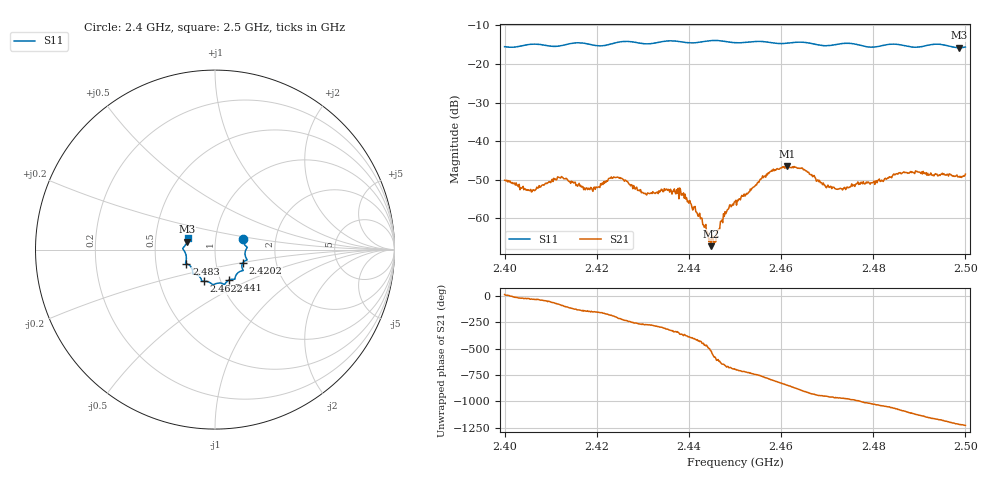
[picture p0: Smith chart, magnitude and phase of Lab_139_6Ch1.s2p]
# Hz S RI R 50
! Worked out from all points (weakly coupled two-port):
!   601 points, 2.4 GHz to 2.5 GHz, reference 50 ohm
!   highest |S21| = -46.52 dB at 2.4613 GHz (marker M1); lowest = -67.2 dB at 2.4448 GHz (marker M2)
!   lowest |S11| = -15.8 dB at 2.4987 GHz (marker M3), VSWR 1.39, Z = 36.4 + j3.32 ohm
!   |S11| at or under -10 dB: start of sweep to end of sweep
!   S12 and S22 are empty: the file has one direction only
!   S11 on the Smith chart (normalised r, x): 2.4 GHz: 1.36, +0.17; 2.4202 GHz: 1.35, -0.20; 2.441 GHz: 1.09, -0.39; 2.4622 GHz: 0.83, -0.30; 2.483 GHz: 0.72, -0.12; 2.5 GHz: 0.73, +0.09
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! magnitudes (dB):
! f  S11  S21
! 2.4 GHz  -15.6  -50.1
! 2.4055 GHz  -15.0  -52.8
! 2.412 GHz  -15.3  -49.5
! 2.4167 GHz  -14.6  -51.9
! 2.4202 GHz  -15.3  -52.0
! 2.4242 GHz  -14.5  -49.4
! 2.4303 GHz  -14.8  -53.6
! 2.4333 GHz  -14.4  -53.6
! 2.4378 GHz  -14.2  -54.9
! 2.441 GHz  -14.6  -57.1
! 2.4448 GHz  -14.0  -67.2
! 2.45 GHz  -14.5  -55.7
! 2.4578 GHz  -14.5  -47.8
! 2.4613 GHz  -14.7  -46.5
! 2.4622 GHz  -14.5  -46.8
! 2.4667 GHz  -14.7  -48.7
! 2.4722 GHz  -14.9  -52.4
! 2.483 GHz  -15.0  -49.7
! 2.4833 GHz  -15.0  -49.6
! 2.4897 GHz  -15.7  -48.0
! 2.4987 GHz  -15.8  -49.1
! 2.5 GHz  -15.6  -48.5
